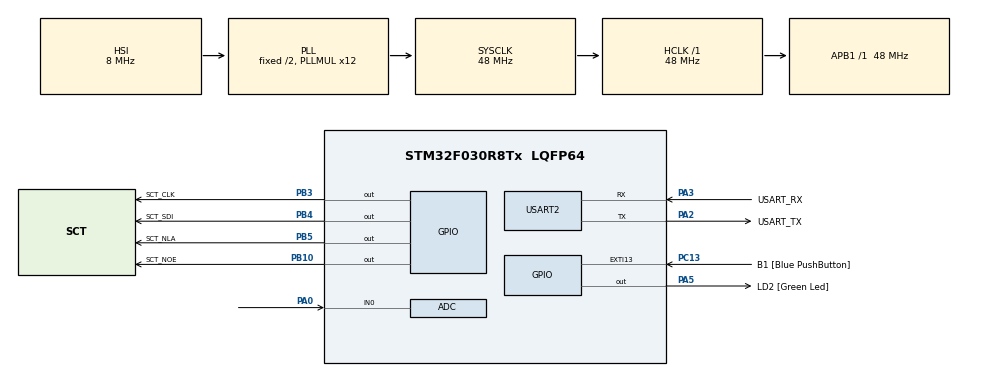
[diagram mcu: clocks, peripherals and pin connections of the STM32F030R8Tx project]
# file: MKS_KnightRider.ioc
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ADC.ContinuousConvMode=ENABLE
ADC.Overrun=ADC_OVR_DATA_OVERWRITTEN
ADC.SamplingTime=ADC_SAMPLETIME_239CYCLES_5
Mcu.Family=STM32F0
Mcu.Name=STM32F030R8Tx
Mcu.Package=LQFP64
NVIC.ADC1_IRQn=true\:0\:0\:false\:false\:true\:true\:true
PA0.Mode=IN0
PA0.Signal=ADC_IN0
PA13.GPIO_Label=TMS
PA13.Mode=Serial_Wire
PA13.Signal=SYS_SWDIO
PA14.GPIO_Label=TCK
PA14.Mode=Serial_Wire
PA14.Signal=SYS_SWCLK
PA2.GPIO_Label=USART_TX
PA2.GPIO_Mode=GPIO_MODE_AF_PP
PA2.GPIO_PuPd=GPIO_NOPULL
PA2.GPIO_Speed=GPIO_SPEED_FREQ_LOW
PA2.Mode=Asynchronous
PA2.Signal=USART2_TX
PA3.GPIO_Label=USART_RX
PA3.GPIO_Mode=GPIO_MODE_AF_PP
PA3.GPIO_PuPd=GPIO_NOPULL
PA3.GPIO_Speed=GPIO_SPEED_FREQ_LOW
PA3.Mode=Asynchronous
PA3.Signal=USART2_RX
PA5.GPIO_Label=LD2 [Green Led]
PA5.GPIO_Mode=GPIO_MODE_OUTPUT_PP
PA5.GPIO_PuPd=GPIO_NOPULL
PA5.GPIO_Speed=GPIO_SPEED_FREQ_LOW
PA5.Signal=GPIO_Output
PB10.GPIO_Label=SCT_NOE
PB10.Signal=GPIO_Output
PB3.GPIO_Label=SCT_CLK
PB3.Signal=GPIO_Output
PB4.GPIO_Label=SCT_SDI
PB4.Signal=GPIO_Output
PB5.GPIO_Label=SCT_NLA
PB5.Signal=GPIO_Output
PC13.GPIO_Label=B1 [Blue PushButton]
PC13.GPIO_ModeDefaultEXTI=GPIO_MODE_IT_FALLING
PC13.Signal=GPXTI13
PC14-OSC32_IN.Mode=LSE-External-Oscillator
PC14-OSC32_IN.Signal=RCC_OSC32_IN
PC15-OSC32_OUT.Mode=LSE-External-Oscillator
PC15-OSC32_OUT.Signal=RCC_OSC32_OUT
PF0-OSC_IN.Mode=HSE-External-Clock-Source
PF0-OSC_IN.Signal=RCC_OSC_IN
PF1-OSC_OUT.Signal=RCC_OSC_OUT
ProjectManager.HeapSize=0x200
ProjectManager.StackSize=0x400
ProjectManager.TargetToolchain=STM32CubeIDE
RCC.AHBFreq_Value=48000000
RCC.APB1Freq_Value=48000000
RCC.APB1TimFreq_Value=48000000
RCC.HCLKFreq_Value=48000000
RCC.PLLMUL=RCC_PLL_MUL12
RCC.SYSCLKFreq_VALUE=48000000
RCC.SYSCLKSource=RCC_SYSCLKSOURCE_PLLCLK
USART2.VirtualMode-Asynchronous=VM_ASYNC
board=NUCLEO-F030R8

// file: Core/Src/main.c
/* USER CODE BEGIN Header */
/**
 ******************************************************************************
 * @file           : main.c
 * @brief          : Main program body
 ******************************************************************************
 * @attention
 *
 * Copyright (c) 2022 STMicroelectronics.
 * All rights reserved.
 *
 * This software is licensed under terms that can be found in the LICENSE file
 * in the root directory of this software component.
 * If no LICENSE file comes with this software, it is provided AS-IS.
 *
 ******************************************************************************
 */
/* USER CODE END Header */
#include "main.h"

/* USER CODE BEGIN Includes */
#include <stdio.h>
#include <stdbool.h>
#include "sct.h"
/* USER CODE END Includes */

/* USER CODE BEGIN PD */
#define ADC_Q 7
#define SPEED_COEFICIENT 10	//it divides ADvalue for getting some speed of KITT
/* USER CODE END PD */

ADC_HandleTypeDef hadc;

UART_HandleTypeDef huart2;

/* USER CODE BEGIN PV */
static volatile uint32_t ADvalue;
/* USER CODE END PV */

void SystemClock_Config(void);
static void MX_GPIO_Init(void);
static void MX_USART2_UART_Init(void);
static void MX_ADC_Init(void);

/* USER CODE BEGIN 0 */
void HAL_ADC_ConvCpltCallback(ADC_HandleTypeDef* hadc){

	static volatile uint32_t ADaverage;

	ADvalue = ADaverage >> ADC_Q;
	ADaverage -= ADvalue;
	ADaverage += HAL_ADC_GetValue(hadc);

}
/* USER CODE END 0 */

int main(void)
{

	/* MCU Configuration--------------------------------------------------------*/

	/* Reset of all peripherals, Initializes the Flash interface and the Systick. */
	HAL_Init();

	/* Configure the system clock */
	SystemClock_Config();

	/* Initialize all configured peripherals */
	MX_GPIO_Init();
	MX_USART2_UART_Init();
	MX_ADC_Init();
	/* USER CODE BEGIN 2 */
	HAL_ADCEx_Calibration_Start(&hadc);
	HAL_ADC_Start_IT(&hadc);
	sct_init();
	/* USER CODE END 2 */

	/* Infinite loop */
	while (1)
	{

		/* USER CODE BEGIN 3 */
		static uint32_t timer = 0;
		static uint32_t counter = 0;
		bool direct;
		uint32_t speed;

		speed = ADvalue / SPEED_COEFICIENT;

		if(HAL_GetTick() > timer + speed){
			timer = HAL_GetTick();

			if(counter >= 8) direct = false;
			if(counter <= 1) direct = true;

			if(direct){
				counter++;
			}else{
				counter--;
			}

			sct_value(0, counter);
		}

	}
	/* USER CODE END 3 */
}

void SystemClock_Config(void)
{
	RCC_OscInitTypeDef RCC_OscInitStruct = {0};
	RCC_ClkInitTypeDef RCC_ClkInitStruct = {0};

	/** Initializes the RCC Oscillators according to the specified parameters
	 * in the RCC_OscInitTypeDef structure.
	 */
	RCC_OscInitStruct.OscillatorType = RCC_OSCILLATORTYPE_HSI|RCC_OSCILLATORTYPE_HSI14;
	RCC_OscInitStruct.HSIState = RCC_HSI_ON;
	RCC_OscInitStruct.HSI14State = RCC_HSI14_ON;
	RCC_OscInitStruct.HSICalibrationValue = RCC_HSICALIBRATION_DEFAULT;
	RCC_OscInitStruct.HSI14CalibrationValue = 16;
	RCC_OscInitStruct.PLL.PLLState = RCC_PLL_ON;
	RCC_OscInitStruct.PLL.PLLSource = RCC_PLLSOURCE_HSI;
	RCC_OscInitStruct.PLL.PLLMUL = RCC_PLL_MUL12;
	RCC_OscInitStruct.PLL.PREDIV = RCC_PREDIV_DIV1;
	if (HAL_RCC_OscConfig(&RCC_OscInitStruct) != HAL_OK)
	{
		Error_Handler();
	}
	/** Initializes the CPU, AHB and APB buses clocks
	 */
	RCC_ClkInitStruct.ClockType = RCC_CLOCKTYPE_HCLK|RCC_CLOCKTYPE_SYSCLK
			|RCC_CLOCKTYPE_PCLK1;
	RCC_ClkInitStruct.SYSCLKSource = RCC_SYSCLKSOURCE_PLLCLK;
	RCC_ClkInitStruct.AHBCLKDivider = RCC_SYSCLK_DIV1;
	RCC_ClkInitStruct.APB1CLKDivider = RCC_HCLK_DIV1;

	if (HAL_RCC_ClockConfig(&RCC_ClkInitStruct, FLASH_LATENCY_1) != HAL_OK)
	{
		Error_Handler();
	}
}

static void MX_ADC_Init(void)
{

	ADC_ChannelConfTypeDef sConfig = {0};

	/** Configure the global features of the ADC (Clock, Resolution, Data Alignment and number of conversion)
	 */
	hadc.Instance = ADC1;
	hadc.Init.ClockPrescaler = ADC_CLOCK_ASYNC_DIV1;
	hadc.Init.Resolution = ADC_RESOLUTION_12B;
	hadc.Init.DataAlign = ADC_DATAALIGN_RIGHT;
	hadc.Init.ScanConvMode = ADC_SCAN_DIRECTION_FORWARD;
	hadc.Init.EOCSelection = ADC_EOC_SINGLE_CONV;
	hadc.Init.LowPowerAutoWait = DISABLE;
	hadc.Init.LowPowerAutoPowerOff = DISABLE;
	hadc.Init.ContinuousConvMode = ENABLE;
	hadc.Init.DiscontinuousConvMode = DISABLE;
	hadc.Init.ExternalTrigConv = ADC_SOFTWARE_START;
	hadc.Init.ExternalTrigConvEdge = ADC_EXTERNALTRIGCONVEDGE_NONE;
	hadc.Init.DMAContinuousRequests = DISABLE;
	hadc.Init.Overrun = ADC_OVR_DATA_OVERWRITTEN;
	if (HAL_ADC_Init(&hadc) != HAL_OK)
	{
		Error_Handler();
	}
	/** Configure for the selected ADC regular channel to be converted.
	 */
	sConfig.Channel = ADC_CHANNEL_0;
	sConfig.Rank = ADC_RANK_CHANNEL_NUMBER;
	sConfig.SamplingTime = ADC_SAMPLETIME_239CYCLES_5;
	if (HAL_ADC_ConfigChannel(&hadc, &sConfig) != HAL_OK)
	{
		Error_Handler();
	}

}

static void MX_USART2_UART_Init(void)
{

	huart2.Instance = USART2;
	huart2.Init.BaudRate = 38400;
	huart2.Init.WordLength = UART_WORDLENGTH_8B;
	huart2.Init.StopBits = UART_STOPBITS_1;
	huart2.Init.Parity = UART_PARITY_NONE;
	huart2.Init.Mode = UART_MODE_TX_RX;
	huart2.Init.HwFlowCtl = UART_HWCONTROL_NONE;
	huart2.Init.OverSampling = UART_OVERSAMPLING_16;
	huart2.Init.OneBitSampling = UART_ONE_BIT_SAMPLE_DISABLE;
	huart2.AdvancedInit.AdvFeatureInit = UART_ADVFEATURE_NO_INIT;
	if (HAL_UART_Init(&huart2) != HAL_OK)
	{
		Error_Handler();
	}

}

static void MX_GPIO_Init(void)
{
	GPIO_InitTypeDef GPIO_InitStruct = {0};

	/* GPIO Ports Clock Enable */
	__HAL_RCC_GPIOC_CLK_ENABLE();
	__HAL_RCC_GPIOF_CLK_ENABLE();
	__HAL_RCC_GPIOA_CLK_ENABLE();
	__HAL_RCC_GPIOB_CLK_ENABLE();

	/*Configure GPIO pin Output Level */
	HAL_GPIO_WritePin(LD2_GPIO_Port, LD2_Pin, GPIO_PIN_RESET);

	/*Configure GPIO pin Output Level */
	HAL_GPIO_WritePin(GPIOB, SCT_NOE_Pin|SCT_CLK_Pin|SCT_SDI_Pin|SCT_NLA_Pin, GPIO_PIN_RESET);

	/*Configure GPIO pin : B1_Pin */
	GPIO_InitStruct.Pin = B1_Pin;
	GPIO_InitStruct.Mode = GPIO_MODE_IT_FALLING;
	GPIO_InitStruct.Pull = GPIO_NOPULL;
	HAL_GPIO_Init(B1_GPIO_Port, &GPIO_InitStruct);

	/*Configure GPIO pin : LD2_Pin */
	GPIO_InitStruct.Pin = LD2_Pin;
	GPIO_InitStruct.Mode = GPIO_MODE_OUTPUT_PP;
	GPIO_InitStruct.Pull = GPIO_NOPULL;
	GPIO_InitStruct.Speed = GPIO_SPEED_FREQ_LOW;
	HAL_GPIO_Init(LD2_GPIO_Port, &GPIO_InitStruct);

	/*Configure GPIO pins : SCT_NOE_Pin SCT_CLK_Pin SCT_SDI_Pin SCT_NLA_Pin */
	GPIO_InitStruct.Pin = SCT_NOE_Pin|SCT_CLK_Pin|SCT_SDI_Pin|SCT_NLA_Pin;
	GPIO_InitStruct.Mode = GPIO_MODE_OUTPUT_PP;
	GPIO_InitStruct.Pull = GPIO_NOPULL;
	GPIO_InitStruct.Speed = GPIO_SPEED_FREQ_LOW;
	HAL_GPIO_Init(GPIOB, &GPIO_InitStruct);

}

void Error_Handler(void)
{
	__disable_irq();
	while (1)
	{
	}
}
